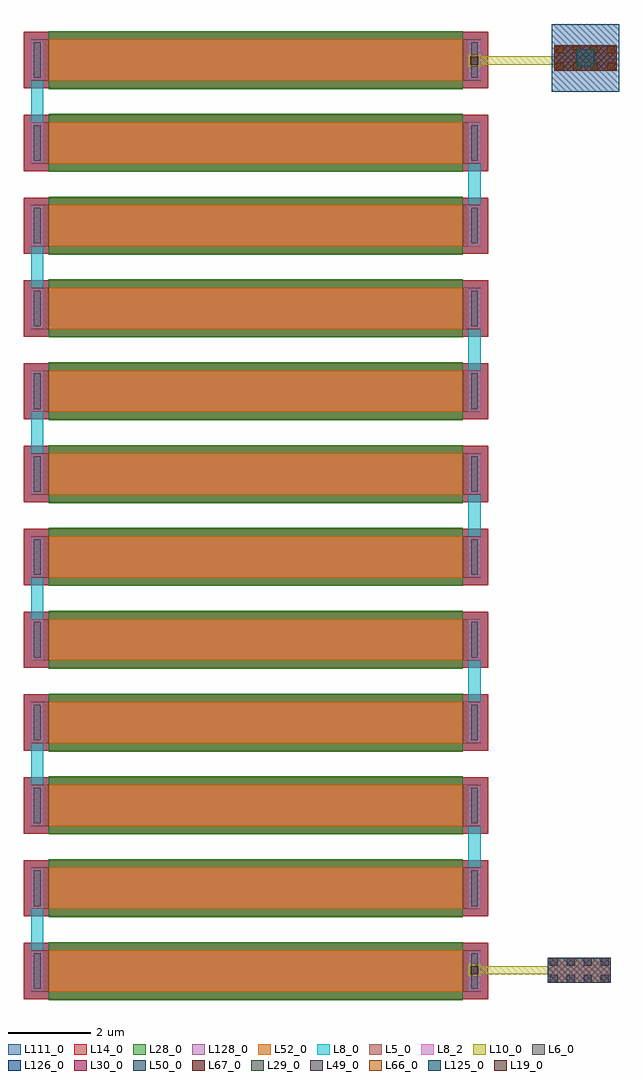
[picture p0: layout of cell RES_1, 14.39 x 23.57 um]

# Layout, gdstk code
from math import pi, radians
import gdstk
lib = gdstk.Library(unit=1e-6, precision=5e-09)
def R(c, l, rs):  # rectangles x0, y0, x1, y1
    for r in rs: c.add(gdstk.rectangle(r[:2], r[2:], *l))
def A(c, l, x, y, w, h, nx, ny, dx, dy):  # array of equal rectangles
    R(c, l, [(x+i*dx, y+j*dy, x+i*dx+w, y+j*dy+h) for i in range(nx) for j in range(ny)])
L5_0 = (5, 0)
L6_0 = (6, 0)
L8_0 = (8, 0)
L8_2 = (8, 2)
L10_0 = (10, 0)
L14_0 = (14, 0)
L19_0 = (19, 0)
L28_0 = (28, 0)
L29_0 = (29, 0)
L30_0 = (30, 0)
L49_0 = (49, 0)
L50_0 = (50, 0)
L52_0 = (52, 0)
L66_0 = (66, 0)
L67_0 = (67, 0)
L111_0 = (111, 0)
L125_0 = (125, 0)
L126_0 = (126, 0)
L128_0 = (128, 0)

rppd = lib.new_cell('rppd')
A(rppd, L5_0, 0, -0.43, 1, 0.23, 12, 2, 2, 10.63)
A(rppd, L5_0, 0, -0.2, 1, 0.2, 12, 2, 2, 10.2)
A(rppd, L6_0, 0.07, -0.36, 0.86, 0.16, 12, 2, 2, 10.56)
A(rppd, L8_0, 0.02, -0.43, 0.96, 0.3, 12, 2, 2, 10.56)
A(rppd, L8_0, 2.02, -0.43, 2.96, 0.3, 5, 1, 4, 0)
A(rppd, L8_0, 0.02, 10.13, 2.96, 0.3, 6, 1, 4, 0)
A(rppd, L8_2, 0.02, -0.43, 0.96, 0.3, 12, 2, 2, 10.56)
A(rppd, L14_0, -0.18, -0.61, 1.36, 0.61, 12, 2, 2, 10.61)
A(rppd, L14_0, -0.18, 0, 1.36, 10, 12, 1, 2, 0)
A(rppd, L28_0, -0.2, 0, 1.4, 10, 12, 1, 2, 0)
A(rppd, L52_0, 0, 0, 1, 10, 12, 1, 2, 0)
A(rppd, L111_0, -0.18, -0.61, 1.36, 0.61, 12, 2, 2, 10.61)
A(rppd, L111_0, -0.2, 0, 1.4, 10, 12, 1, 2, 0)
A(rppd, L128_0, 0, 0, 1, 10, 12, 1, 2, 0)
rppd.add(gdstk.Label('rppd r=2654.493', (0.5,5), layer=63, texttype=0))
rppd.add(gdstk.Label('rppd r=2654.493', (0.5,5), layer=63, texttype=0))
rppd.add(gdstk.Label('rppd r=2654.493', (0.5,5), layer=63, texttype=0))
rppd.add(gdstk.Label('rppd r=2654.493', (0.5,5), layer=63, texttype=0))
rppd.add(gdstk.Label('rppd r=2654.493', (0.5,5), layer=63, texttype=0))
rppd.add(gdstk.Label('rppd r=2654.493', (0.5,5), layer=63, texttype=0))
rppd.add(gdstk.Label('rppd r=2654.493', (0.5,5), layer=63, texttype=0))
rppd.add(gdstk.Label('rppd r=2654.493', (0.5,5), layer=63, texttype=0))
rppd.add(gdstk.Label('rppd r=2654.493', (0.5,5), layer=63, texttype=0))
rppd.add(gdstk.Label('rppd r=2654.493', (0.5,5), layer=63, texttype=0))
rppd.add(gdstk.Label('rppd r=2654.493', (0.5,5), layer=63, texttype=0))
rppd.add(gdstk.Label('rppd r=2654.493', (0.5,5), layer=63, texttype=0))
rppd.add(gdstk.Label('rppd', (0.5,5), layer=52, texttype=0))
rppd.add(gdstk.Label('rppd', (2.5,5), layer=52, texttype=0))
rppd.add(gdstk.Label('rppd', (4.5,5), layer=52, texttype=0))
rppd.add(gdstk.Label('rppd', (6.5,5), layer=52, texttype=0))
rppd.add(gdstk.Label('rppd', (8.5,5), layer=52, texttype=0))
rppd.add(gdstk.Label('rppd', (10.5,5), layer=52, texttype=0))
rppd.add(gdstk.Label('rppd', (12.5,5), layer=52, texttype=0))
rppd.add(gdstk.Label('rppd', (14.5,5), layer=52, texttype=0))
rppd.add(gdstk.Label('rppd', (16.5,5), layer=52, texttype=0))
rppd.add(gdstk.Label('rppd', (18.5,5), layer=52, texttype=0))
rppd.add(gdstk.Label('rppd', (20.5,5), layer=52, texttype=0))
rppd.add(gdstk.Label('rppd', (22.5,5), layer=52, texttype=0))

via_stack = lib.new_cell('via_stack')
R(via_stack, L10_0, [(-0.76,-0.305,0.76,0.305)])
A(via_stack, L29_0, -0.71, -0.3, 0.19, 0.19, 4, 2, 0.41, 0.41)
R(via_stack, L30_0, [(-0.76,-0.305,0.76,0.305)])
A(via_stack, L49_0, -0.71, -0.3, 0.19, 0.19, 4, 2, 0.41, 0.41)
R(via_stack, L50_0, [(-0.76,-0.305,0.76,0.305)])
A(via_stack, L66_0, -0.71, -0.3, 0.19, 0.19, 4, 2, 0.41, 0.41)
R(via_stack, L67_0, [(-0.76,-0.31,0.76,0.31)])
R(via_stack, L125_0, [(-0.21,-0.21,0.21,0.21)])
R(via_stack, L126_0, [(-0.82,-0.82,0.82,0.82)])

via_stack_3 = lib.new_cell('via_stack$3')
R(via_stack_3, L10_0, [(-0.76,-0.305,0.76,0.305)])
A(via_stack_3, L29_0, -0.71, -0.3, 0.19, 0.19, 4, 2, 0.41, 0.41)
R(via_stack_3, L30_0, [(-0.76,-0.305,0.76,0.305)])
A(via_stack_3, L49_0, -0.71, -0.3, 0.19, 0.19, 4, 2, 0.41, 0.41)
R(via_stack_3, L50_0, [(-0.76,-0.305,0.76,0.305)])

res_1 = lib.new_cell('RES_1')
R(res_1, L10_0, [(31.42,34.33,31.72,34.63), (31.475,34.38,34.86,34.58), (31.42,56.295,31.72,56.595), (31.42,56.35,35.01,56.55)])
R(res_1, L19_0, [(31.475,34.385,31.665,34.575), (31.47,56.35,31.66,56.54)])
res_1.add(gdstk.Reference(rppd, (31.29,33.96), rotation=pi/2))
res_1.add(gdstk.Reference(via_stack, (34.25,56.51)))
res_1.add(gdstk.Reference(via_stack_3, (34.1,34.48)))

lib.write_gds('RES_1.gds')
